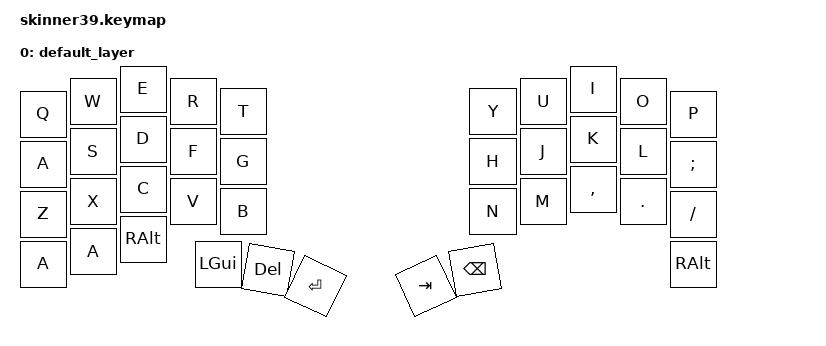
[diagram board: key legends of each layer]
#include <behaviors.dtsi>
#include <dt-bindings/zmk/keys.h>
#include <dt-bindings/zmk/bt.h>
#include <dt-bindings/zmk/ext_power.h>
#include <dt-bindings/zmk/rgb.h>

/ {
	keymap {
		compatible = "zmk,keymap";

		default_layer {
			bindings = <
				&kp Q    &kp W    &kp E     &kp R     &kp T                         &kp Y     &kp U     &kp I     &kp O      &kp P 
				&kp A    &kp S    &kp D     &kp F     &kp G                         &kp H     &kp J     &kp K     &kp L      &kp SEMI
				&kp Z    &kp X    &kp C     &kp V     &kp B                         &kp N     &kp M     &kp COMMA &kp PERIOD &kp SLASH
				&kp A    &kp A    &kp RALT  &kp LGUI  &kp DEL  &kp RET    &kp TAB   &kp BSPC                                 &kp RALT
			>;
		};
	};
};
